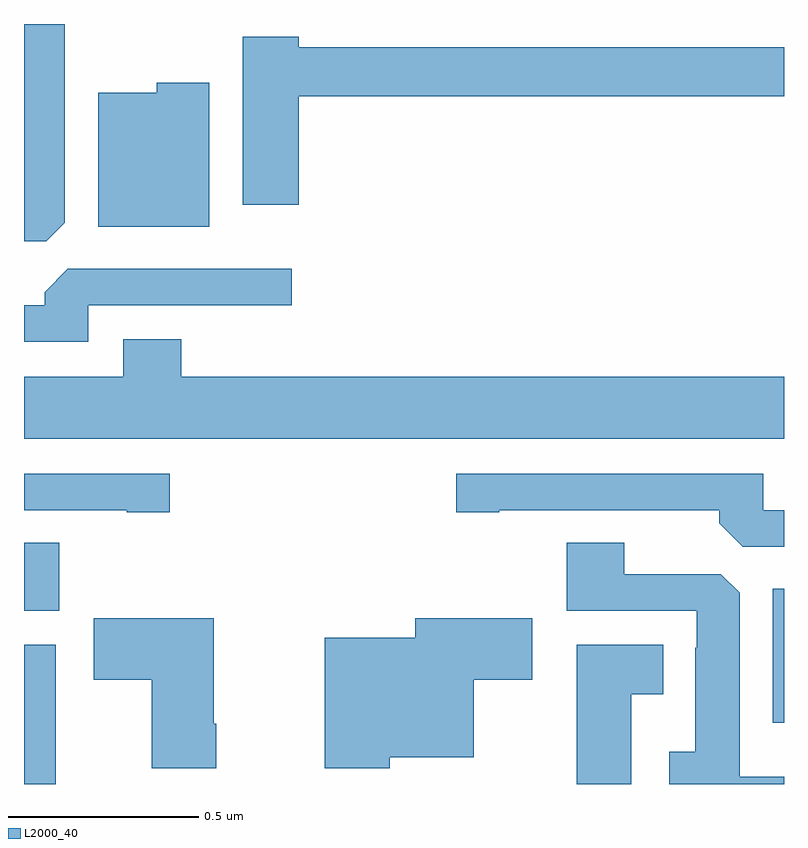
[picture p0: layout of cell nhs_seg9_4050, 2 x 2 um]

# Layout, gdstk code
import gdstk
lib = gdstk.Library(unit=1e-6, precision=1e-09)
def R(c, l, rs):  # rectangles x0, y0, x1, y1
    for r in rs: c.add(gdstk.rectangle(r[:2], r[2:], *l))
def P(c, l, *ps):  # polygons
    for p in ps: c.add(gdstk.Polygon(p, *l))
L2000_40 = (2000, 40)

nhs_seg9_4050 = lib.new_cell('nhs_seg9_4050')
R(nhs_seg9_4050, L2000_40, [(161,1207.5,161.083,1207.867), (162.971,1207.661,163,1208.014), (161,1207.956,161.093,1208.135)])
P(nhs_seg9_4050, L2000_40, [(161.107,1208.977),(161.107,1209.5),(161,1209.5),(161,1208.928),(161.058,1208.928)],
  [(161.723,1209.31),(163,1209.31),(163,1209.439),(161.723,1209.439),(161.723,1209.466),(161.576,1209.466),(161.576,1209.024),(161.723,1209.024)],
  [(161.488,1209.346),(161.349,1209.346),(161.349,1209.319),(161.195,1209.319),(161.195,1208.966),(161.488,1208.966)],
  [(161.169,1208.76),(161.704,1208.76),(161.704,1208.856),(161.115,1208.856),(161.054,1208.794),(161.054,1208.76),(161,1208.76),(161,1208.664),(161.169,1208.664)],
  [(161.261,1208.671),(161.261,1208.572),(161,1208.572),(161,1208.408),(163,1208.408),(163,1208.572),(161.414,1208.572),(161.414,1208.671)],
  [(163,1208.22),(162.945,1208.22),(162.945,1208.316),(162.138,1208.316),(162.138,1208.215),(162.25,1208.215),(162.25,1208.22),(162.83,1208.22),(162.83,1208.186),(162.891,1208.124),(163,1208.124)],
  [(161.383,1208.316),(161,1208.316),(161,1208.22),(161.27,1208.22),(161.27,1208.215),(161.383,1208.215)],
  [(163,1207.519),(162.883,1207.519),(162.883,1208.003),(162.834,1208.052),(162.58,1208.052),(162.58,1208.135),(162.428,1208.135),(162.428,1207.956),(162.771,1207.956),(162.771,1207.859),(162.767,1207.859),(162.767,1207.585),(162.698,1207.585),(162.698,1207.5),(163,1207.5)],
  [(161.506,1207.659),(161.499,1207.659),(161.499,1207.936),(161.184,1207.936),(161.184,1207.774),(161.336,1207.774),(161.336,1207.541),(161.506,1207.541)],
  [(161.963,1207.571),(162.184,1207.571),(162.184,1207.774),(162.337,1207.774),(162.337,1207.936),(162.029,1207.936),(162.029,1207.885),(161.792,1207.885),(161.792,1207.541),(161.963,1207.541)],
  [(162.598,1207.736),(162.682,1207.736),(162.682,1207.867),(162.455,1207.867),(162.455,1207.5),(162.598,1207.5)])

lib.write_gds('nhs_seg9_4050.gds')
